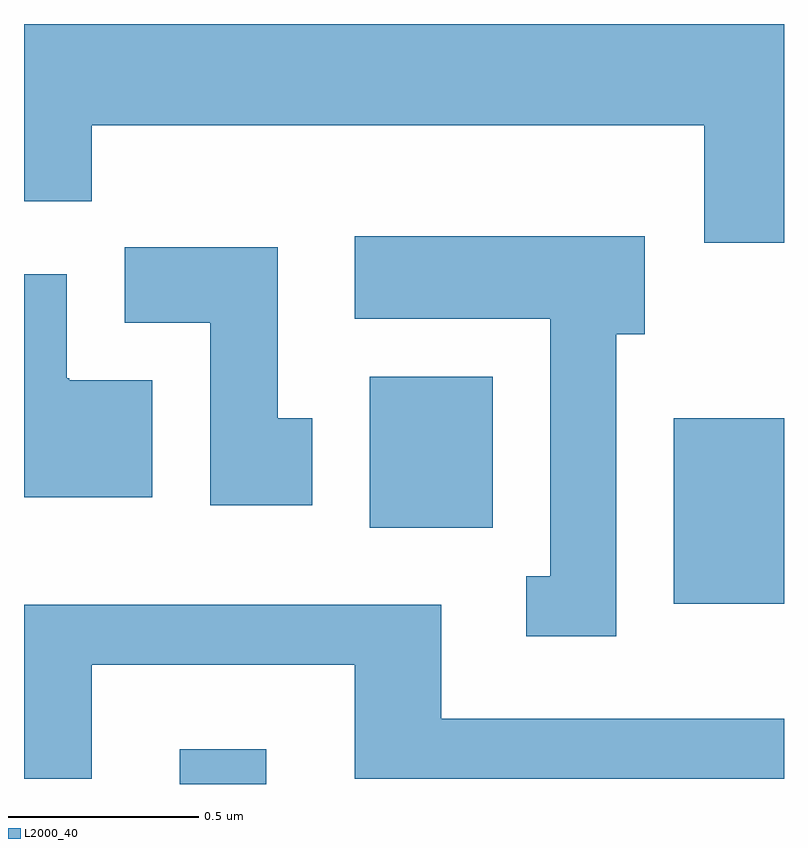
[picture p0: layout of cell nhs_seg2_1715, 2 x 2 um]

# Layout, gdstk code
import gdstk
lib = gdstk.Library(unit=1e-6, precision=1e-09)
def R(c, l, rs):  # rectangles x0, y0, x1, y1
    for r in rs: c.add(gdstk.rectangle(r[:2], r[2:], *l))
def P(c, l, *ps):  # polygons
    for p in ps: c.add(gdstk.Polygon(p, *l))
L2000_40 = (2000, 40)

nhs_seg2_1715 = lib.new_cell('nhs_seg2_1715')
R(nhs_seg2_1715, L2000_40, [(198.021,1048.802,198.249,1048.894), (199.321,1049.276,199.611,1049.764), (198.521,1049.476,198.844,1049.874)])
P(nhs_seg2_1715, L2000_40, [(199.611,1050.802),(197.611,1050.802),(197.611,1050.336),(197.789,1050.336),(197.789,1050.536),(199.401,1050.536),(199.401,1050.226),(199.611,1050.226)],
  [(199.169,1049.986),(199.244,1049.986),(199.244,1050.244),(198.481,1050.244),(198.481,1050.026),(198.996,1050.026),(198.996,1049.349),(198.933,1049.349),(198.933,1049.191),(199.169,1049.191)],
  [(198.369,1049.764),(198.279,1049.764),(198.279,1050.214),(197.876,1050.214),(197.876,1050.016),(198.101,1050.016),(198.101,1049.536),(198.369,1049.536)],
  [(197.949,1049.864),(197.73,1049.864),(197.73,1049.87),(197.724,1049.87),(197.724,1050.144),(197.611,1050.144),(197.611,1049.556),(197.949,1049.556)],
  [(197.789,1049.116),(198.481,1049.116),(198.481,1048.816),(199.611,1048.816),(199.611,1048.974),(198.709,1048.974),(198.709,1049.274),(197.611,1049.274),(197.611,1048.816),(197.789,1048.816)])

lib.write_gds('nhs_seg2_1715.gds')
